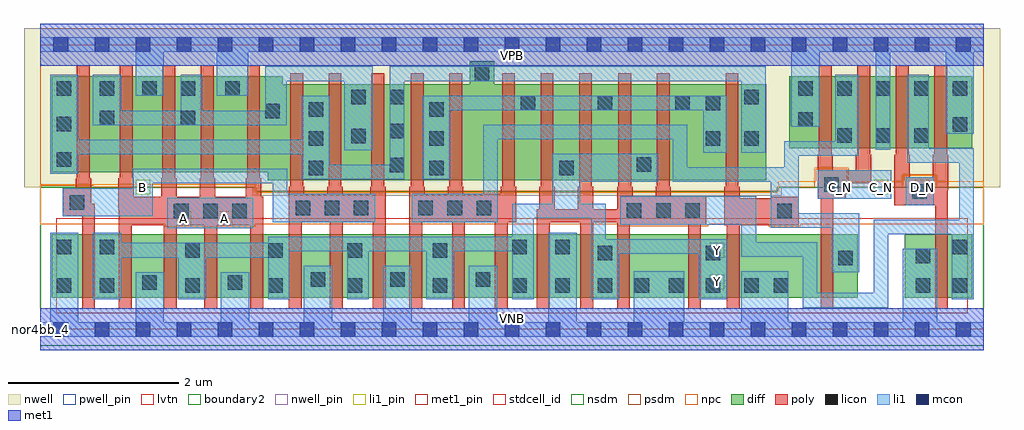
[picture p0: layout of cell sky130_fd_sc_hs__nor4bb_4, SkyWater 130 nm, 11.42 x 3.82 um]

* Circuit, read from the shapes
.subckt sky130_fd_sc_hs__nor4bb_4 A B C_N D_N VGND VNB VPB VPWR Y
XM1 Y B VGND VNB sky130_fd_pr__nfet_01v8_lvt w=0.74 l=0.15 m=4
XM2 VGND A Y VNB sky130_fd_pr__nfet_01v8_lvt w=0.74 l=0.15 m=4
XM3 Y n1 VGND VNB sky130_fd_pr__nfet_01v8_lvt w=0.74 l=0.15 m=4
XM4 VGND n2 Y VNB sky130_fd_pr__nfet_01v8_lvt w=0.74 l=0.15 m=4
XM5 n1 C_N VGND VNB sky130_fd_pr__nfet_01v8_lvt w=0.74 l=0.15
XM6 n2 D_N VGND VNB sky130_fd_pr__nfet_01v8_lvt w=0.74 l=0.15
XM7 n3 B n4 VPB sky130_fd_pr__pfet_01v8 w=1.12 l=0.15 m=4
XM8 VPWR A n3 VPB sky130_fd_pr__pfet_01v8 w=1.12 l=0.15 m=4
XM9 n5 n1 n4 VPB sky130_fd_pr__pfet_01v8 w=1.12 l=0.15 m=4
XM10 Y n2 n5 VPB sky130_fd_pr__pfet_01v8 w=1.12 l=0.15 m=4
XM11 n1 C_N VPWR VPB sky130_fd_pr__pfet_01v8 w=0.84 l=0.15 m=2
XM12 n2 D_N VPWR VPB sky130_fd_pr__pfet_01v8 w=0.84 l=0.15 m=2
.ends

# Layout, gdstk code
import gdstk
lib = gdstk.Library(unit=1e-6, precision=1e-09)
def R(c, l, rs):  # rectangles x0, y0, x1, y1
    for r in rs: c.add(gdstk.rectangle(r[:2], r[2:], *l))
def A(c, l, x, y, w, h, nx, ny, dx, dy):  # array of equal rectangles
    R(c, l, [(x+i*dx, y+j*dy, x+i*dx+w, y+j*dy+h) for i in range(nx) for j in range(ny)])
def P(c, l, *ps):  # polygons
    for p in ps: c.add(gdstk.Polygon(p, *l))
nwell_pin = (64, 16)
nwell = (64, 20)
diff = (65, 20)
poly = (66, 20)
licon = (66, 44)
li1_pin = (67, 16)
li1 = (67, 20)
mcon = (67, 44)
met1_pin = (68, 16)
met1 = (68, 20)
stdcell_id = (81, 4)
nsdm = (93, 44)
psdm = (94, 20)
npc = (95, 20)
pwell_pin = (122, 16)
lvtn = (125, 44)
boundary2 = (236, 0)

sky130_fd_sc_hs__nor4bb_ = lib.new_cell('sky130_fd_sc_hs__nor4bb_4')
R(sky130_fd_sc_hs__nor4bb_, nwell_pin, [(0,3.085,11.04,3.33)])
P(sky130_fd_sc_hs__nor4bb_, nwell, [(11.23,3.52),(-0.19,3.52),(-0.19,1.66),(2.48,1.66),(2.48,1.565),(8.675,1.565),(8.675,1.66),(11.23,1.66)])
R(sky130_fd_sc_hs__nor4bb_, diff, [(0.135,0.37,9.565,1.11), (10.115,0.37,10.905,1.11), (8.765,2.12,10.905,2.96)])
P(sky130_fd_sc_hs__nor4bb_, diff, [(8.495,2.865),(5.315,2.865),(5.315,3.135),(5.025,3.135),(5.025,2.865),(2.835,2.865),(2.835,2.96),(0.135,2.96),(0.135,1.84),(2.66,1.84),(2.66,1.745),(8.495,1.745)])
P(sky130_fd_sc_hs__nor4bb_, poly, [(0.64,1.47),(0.595,1.47),(0.595,1.765),(0.58,1.765),(0.58,3.09),(0.43,3.09),(0.43,1.765),(0.415,1.765),(0.415,1.65),(0.265,1.65),(0.265,1.32),(0.49,1.32),(0.49,0.24),(0.64,0.24)],
  [(2.61,1.55),(2.585,1.55),(2.585,1.765),(2.57,1.765),(2.57,3.09),(2.42,3.09),(2.42,1.765),(2.405,1.765),(2.405,1.55),(2.045,1.55),(2.045,1.765),(2.03,1.765),(2.03,3.09),(1.88,3.09),(1.88,1.765),(1.865,1.765),(1.865,1.55),(1.595,1.55),(1.595,1.765),(1.58,1.765),(1.58,3.09),(1.43,3.09),(1.43,1.765),(1.415,1.765),(1.415,1.55),(1.095,1.55),(1.095,1.765),(1.08,1.765),(1.08,3.09),(0.93,3.09),(0.93,1.765),(0.915,1.765),(0.915,1.4),(0.92,1.4),(0.92,0.24),(1.07,0.24),(1.07,1.22),(1.445,1.22),(1.445,0.24),(1.595,0.24),(1.595,1.22),(1.92,1.22),(1.92,0.24),(2.07,0.24),(2.07,1.22),(2.46,1.22),(2.46,0.24),(2.61,0.24)],
  [(4.04,1.67),(4.025,1.67),(4.025,2.995),(3.875,2.995),(3.875,1.67),(3.86,1.67),(3.86,1.585),(3.54,1.585),(3.54,1.67),(3.525,1.67),(3.525,2.995),(3.375,2.995),(3.375,1.67),(3.36,1.67),(3.36,1.585),(3.09,1.585),(3.09,1.67),(3.075,1.67),(3.075,2.995),(2.925,2.995),(2.925,1.67),(2.91,1.67),(2.91,0.24),(3.06,0.24),(3.06,1.255),(3.39,1.255),(3.39,0.24),(3.54,0.24),(3.54,1.255),(3.89,1.255),(3.89,0.24),(4.04,0.24)],
  [(5.57,1.67),(5.555,1.67),(5.555,2.995),(5.405,2.995),(5.405,1.67),(5.39,1.67),(5.39,1.585),(4.95,1.585),(4.95,1.67),(4.935,1.67),(4.935,2.995),(4.785,2.995),(4.785,1.67),(4.77,1.67),(4.77,1.585),(4.5,1.585),(4.5,1.67),(4.485,1.67),(4.485,2.995),(4.335,2.995),(4.335,1.67),(4.32,1.67),(4.32,0.24),(4.47,0.24),(4.47,1.255),(4.82,1.255),(4.82,0.24),(4.97,0.24),(4.97,1.255),(5.32,1.255),(5.32,0.24),(5.47,0.24),(5.47,1.255),(5.57,1.255)],
  [(7.795,1.555),(7.38,1.555),(7.38,1.67),(7.365,1.67),(7.365,2.995),(7.215,2.995),(7.215,1.67),(7.2,1.67),(7.2,1.555),(6.93,1.555),(6.93,1.67),(6.915,1.67),(6.915,2.995),(6.765,2.995),(6.765,1.67),(6.75,1.67),(6.75,1.405),(6.47,1.405),(6.47,1.67),(6.455,1.67),(6.455,2.995),(6.305,2.995),(6.305,1.67),(6.29,1.67),(6.29,1.405),(6.02,1.405),(6.02,1.67),(6.005,1.67),(6.005,2.995),(5.855,2.995),(5.855,1.67),(5.84,1.67),(5.84,1.405),(5.81,1.405),(5.81,0.24),(5.96,0.24),(5.96,1.255),(6.32,1.255),(6.32,0.24),(6.47,0.24),(6.47,1.255),(6.75,1.255),(6.75,0.24),(6.9,0.24),(6.9,1.225),(7.58,1.225),(7.58,0.24),(7.73,0.24),(7.73,1.225),(7.795,1.225)],
  [(8.875,1.55),(8.545,1.55),(8.545,1.535),(8.185,1.535),(8.185,1.67),(8.17,1.67),(8.17,2.995),(8.02,2.995),(8.02,1.67),(8.005,1.67),(8.005,1.22),(8.035,1.22),(8.035,0.24),(8.185,0.24),(8.185,1.22),(8.875,1.22)],
  [(9.725,2.045),(9.71,2.045),(9.71,3.09),(9.56,3.09),(9.56,2.045),(9.545,2.045),(9.545,1.86),(9.275,1.86),(9.275,2.045),(9.26,2.045),(9.26,3.09),(9.11,3.09),(9.11,2.045),(9.095,2.045),(9.095,1.53),(9.13,1.53),(9.13,0.24),(9.28,0.24),(9.28,1.53),(9.425,1.53),(9.425,1.71),(9.725,1.71)],
  [(10.625,2.045),(10.61,2.045),(10.61,3.09),(10.46,3.09),(10.46,2.045),(10.445,2.045),(10.445,1.78),(10.175,1.78),(10.175,2.045),(10.16,2.045),(10.16,3.09),(10.01,3.09),(10.01,2.045),(9.995,2.045),(9.995,1.45),(10.47,1.45),(10.47,0.24),(10.62,0.24),(10.62,1.63),(10.625,1.63)])
A(sky130_fd_sc_hs__nor4bb_, licon, 5.525, 0.43, 0.17, 0.17, 3, 1, 0.5, 0)
A(sky130_fd_sc_hs__nor4bb_, licon, 1.565, 1.3, 0.17, 0.17, 3, 1, 0.34, 0)
A(sky130_fd_sc_hs__nor4bb_, licon, 6.865, 1.305, 0.17, 0.17, 3, 1, 0.34, 0)
A(sky130_fd_sc_hs__nor4bb_, licon, 2.99, 1.335, 0.17, 0.17, 3, 1, 0.34, 0)
A(sky130_fd_sc_hs__nor4bb_, licon, 4.425, 1.335, 0.17, 0.17, 3, 1, 0.34, 0)
A(sky130_fd_sc_hs__nor4bb_, licon, 3.14, 1.805, 0.17, 0.17, 1, 3, 0, 0.34)
A(sky130_fd_sc_hs__nor4bb_, licon, 4.55, 1.805, 0.17, 0.17, 1, 3, 0, 0.34)
A(sky130_fd_sc_hs__nor4bb_, licon, 4.09, 1.835, 0.17, 0.17, 1, 3, 0, 0.4)
A(sky130_fd_sc_hs__nor4bb_, licon, 9.325, 2.18, 0.17, 0.17, 3, 1, 0.45, 0)
A(sky130_fd_sc_hs__nor4bb_, licon, 5.62, 2.565, 0.17, 0.17, 3, 1, 0.905, 0)
A(sky130_fd_sc_hs__nor4bb_, licon, 0.195, 2.73, 0.17, 0.17, 3, 1, 0.5, 0)
A(sky130_fd_sc_hs__nor4bb_, licon, 9.325, 2.73, 0.17, 0.17, 4, 1, 0.45, 0)
R(sky130_fd_sc_hs__nor4bb_, licon, [(0.195,0.43,0.365,0.6), (0.695,0.43,0.865,0.6), (1.695,0.43,1.865,0.6), (2.665,0.43,2.835,0.6), (3.595,0.43,3.765,0.6), (4.595,0.43,4.765,0.6), (6.955,0.43,7.125,0.6), (7.355,0.43,7.525,0.6), (7.785,0.43,7.955,0.6), (8.24,0.43,8.41,0.6), (8.58,0.43,8.75,0.6), (10.245,0.43,10.415,0.6), (10.675,0.43,10.845,0.6), (1.195,0.465,1.365,0.635), (2.195,0.465,2.365,0.635), (3.165,0.495,3.335,0.665), (4.095,0.495,4.265,0.665), (5.095,0.495,5.265,0.665), (9.335,0.75,9.505,0.92), (10.245,0.77,10.415,0.94), (6.525,0.805,6.695,0.975), (7.785,0.805,7.955,0.975), (2.665,0.835,2.835,1.005), (3.595,0.835,3.765,1.005), (4.595,0.835,4.765,1.005), (1.695,0.84,1.865,1.01), (0.195,0.88,0.365,1.05), (0.695,0.88,0.865,1.05), (5.525,0.88,5.695,1.05), (6.025,0.88,6.195,1.05), (10.675,0.88,10.845,1.05), (8.625,1.3,8.795,1.47), (0.345,1.4,0.515,1.57), (10.205,1.53,10.375,1.7), (9.175,1.61,9.345,1.78), (6.07,1.805,6.24,1.975), (6.98,1.845,7.15,2.015), (0.195,1.9,0.365,2.07), (7.785,2.145,7.955,2.315), (8.24,2.145,8.41,2.315), (3.64,2.175,3.81,2.345), (10.675,2.31,10.845,2.48), (0.195,2.315,0.365,2.485), (8.87,2.37,9.04,2.54), (0.695,2.39,0.865,2.56), (1.645,2.39,1.815,2.56), (2.635,2.47,2.805,2.64), (7.785,2.565,7.955,2.735), (3.64,2.635,3.81,2.805), (8.24,2.635,8.41,2.805), (1.645,2.73,1.815,2.9), (2.165,2.73,2.335,2.9), (8.87,2.73,9.04,2.9), (5.085,2.905,5.255,3.075)])
A(sky130_fd_sc_hs__nor4bb_, li1_pin, 9.275, 1.58, 0.17, 0.17, 3, 1, 0.48, 0)
R(sky130_fd_sc_hs__nor4bb_, li1_pin, [(7.835,0.47,8.005,0.64), (7.835,0.84,8.005,1.01), (1.595,1.21,1.765,1.38), (2.075,1.21,2.245,1.38), (1.115,1.58,1.285,1.75)])
R(sky130_fd_sc_hs__nor4bb_, li1, [(1.485,1.18,2.495,1.54), (10.125,1.45,10.455,1.78), (9.095,1.53,9.955,1.86)])
P(sky130_fd_sc_hs__nor4bb_, li1, [(10.925,2.12),(10.395,2.12),(10.395,2.98),(10.145,2.98),(10.145,1.95),(10.755,1.95),(10.755,1.28),(9.755,1.28),(9.755,0.425),(9.09,0.425),(9.09,1.02),(8.375,1.02),(8.375,1.555),(6.785,1.555),(6.785,1.225),(8.205,1.225),(8.205,0.85),(8.92,0.85),(8.92,0.255),(9.925,0.255),(9.925,1.11),(10.665,1.11),(10.665,0.35),(10.925,0.35)],
  [(3.89,3.075),(2.635,3.075),(2.635,2.56),(1.895,2.56),(1.895,2.98),(1.645,2.98),(1.645,2.56),(0.945,2.56),(0.945,2.98),(0.615,2.98),(0.615,2.39),(2.885,2.39),(2.885,2.905),(3.56,2.905),(3.56,2.095),(3.89,2.095)],
  [(3.92,1.585),(2.89,1.585),(2.89,1.88),(1.085,1.88),(1.085,1.65),(0.265,1.65),(0.265,1.32),(1.315,1.32),(1.315,1.71),(2.72,1.71),(2.72,1.255),(3.92,1.255)],
  [(8.035,2.735),(4.47,2.735),(4.47,1.755),(4.8,1.755),(4.8,2.565),(7.76,2.565),(7.76,2.065),(8.035,2.065)],
  [(8.035,1.055),(6.615,1.055),(6.615,1.47),(6.32,1.47),(6.32,1.725),(7.23,1.725),(7.23,2.055),(5.99,2.055),(5.99,1.47),(5.525,1.47),(5.525,1.085),(2.665,1.085),(2.665,1.01),(0.945,1.01),(0.945,1.13),(0.615,1.13),(0.615,0.35),(0.945,0.35),(0.945,0.84),(1.615,0.84),(1.615,0.35),(1.945,0.35),(1.945,0.84),(2.665,0.84),(2.665,0.35),(2.915,0.35),(2.915,0.915),(3.595,0.915),(3.595,0.35),(3.845,0.35),(3.845,0.915),(4.515,0.915),(4.515,0.35),(4.845,0.35),(4.845,0.915),(5.525,0.915),(5.525,0.35),(5.775,0.35),(5.775,1.3),(6.445,1.3),(6.445,0.35),(6.775,0.35),(6.775,0.885),(7.705,0.885),(7.705,0.35),(8.035,0.35)],
  [(11.04,0.085),(10.495,0.085),(10.495,0.94),(10.095,0.94),(10.095,0.085),(8.75,0.085),(8.75,0.68),(8.205,0.68),(8.205,0.085),(7.535,0.085),(7.535,0.68),(6.945,0.68),(6.945,0.085),(6.275,0.085),(6.275,1.13),(5.945,1.13),(5.945,0.085),(5.345,0.085),(5.345,0.745),(5.015,0.745),(5.015,0.085),(4.345,0.085),(4.345,0.745),(4.015,0.745),(4.015,0.085),(3.415,0.085),(3.415,0.745),(3.085,0.745),(3.085,0.085),(2.445,0.085),(2.445,0.67),(2.115,0.67),(2.115,0.085),(1.445,0.085),(1.445,0.67),(1.115,0.67),(1.115,0.085),(0.445,0.085),(0.445,1.13),(0.115,1.13),(0.115,0.085),(0,0.085),(0,-0.085),(11.04,-0.085)],
  [(8.49,3.075),(4.09,3.075),(4.09,1.925),(3.39,1.925),(3.39,2.735),(3.06,2.735),(3.06,2.22),(0.445,2.22),(0.445,2.98),(0.115,2.98),(0.115,1.82),(0.445,1.82),(0.445,2.05),(3.06,2.05),(3.06,1.755),(4.26,1.755),(4.26,2.905),(8.205,2.905),(8.205,2.065),(8.49,2.065)],
  [(9.585,1.36),(8.875,1.36),(8.875,2.03),(9.575,2.03),(9.575,2.98),(9.3,2.98),(9.3,2.2),(8.705,2.2),(8.705,1.895),(7.57,1.895),(7.57,2.395),(5.185,2.395),(5.185,1.585),(4.345,1.585),(4.345,1.255),(5.355,1.255),(5.355,2.225),(7.4,2.225),(7.4,1.725),(8.545,1.725),(8.545,1.19),(9.26,1.19),(9.26,0.67),(9.585,0.67)],
  [(11.04,3.415),(0,3.415),(0,3.245),(1.115,3.245),(1.115,2.73),(1.445,2.73),(1.445,3.245),(2.065,3.245),(2.065,2.73),(2.435,2.73),(2.435,3.245),(8.79,3.245),(8.79,2.37),(9.12,2.37),(9.12,3.245),(9.775,3.245),(9.775,2.1),(9.945,2.1),(9.945,3.245),(10.595,3.245),(10.595,2.29),(10.925,2.29),(10.925,3.245),(11.04,3.245)])
A(sky130_fd_sc_hs__nor4bb_, mcon, 0.155, -0.085, 0.17, 0.17, 23, 2, 0.48, 3.33)
R(sky130_fd_sc_hs__nor4bb_, met1_pin, [(0,0,11.04,0.245), (0,3.085,11.04,3.33)])
R(sky130_fd_sc_hs__nor4bb_, met1, [(0,-0.245,11.04,0.245), (0,3.085,11.04,3.575)])
R(sky130_fd_sc_hs__nor4bb_, stdcell_id, [(0,0,11.04,3.33)])
P(sky130_fd_sc_hs__nor4bb_, nsdm, [(11.04,1.66),(8.625,1.66),(8.625,1.615),(2.53,1.615),(2.53,1.66),(0,1.66),(0,-0.19),(11.04,-0.19)])
P(sky130_fd_sc_hs__nor4bb_, psdm, [(11.04,3.52),(0,3.52),(0,1.68),(0.625,1.68),(0.625,1.66),(2.53,1.66),(2.53,1.615),(8.625,1.615),(8.625,1.66),(9.065,1.66),(9.065,1.89),(9.455,1.89),(9.455,1.66),(10.095,1.66),(10.095,1.81),(10.485,1.81),(10.485,1.66),(11.04,1.66)])
P(sky130_fd_sc_hs__nor4bb_, npc, [(11.04,1.73),(10.475,1.73),(10.475,1.8),(10.105,1.8),(10.105,1.73),(9.445,1.73),(9.445,1.88),(9.075,1.88),(9.075,1.73),(8.635,1.73),(8.635,1.605),(2.52,1.605),(2.52,1.7),(0,1.7),(0,1.23),(1.465,1.23),(1.465,1.2),(2.515,1.2),(2.515,1.23),(6.765,1.23),(6.765,1.205),(7.815,1.205),(7.815,1.23),(8.525,1.23),(8.525,1.2),(8.895,1.2),(8.895,1.23),(11.04,1.23)])
R(sky130_fd_sc_hs__nor4bb_, pwell_pin, [(0,0,11.04,0.245)])
R(sky130_fd_sc_hs__nor4bb_, lvtn, [(0.19,0.19,10.85,1.3)])
R(sky130_fd_sc_hs__nor4bb_, boundary2, [(0,0,11.04,3.33)])
sky130_fd_sc_hs__nor4bb_.add(gdstk.Label('nor4bb_4', (0,0), layer=83, texttype=44))
sky130_fd_sc_hs__nor4bb_.add(gdstk.Label('VNB', (5.52,0.123), layer=64, texttype=59))
sky130_fd_sc_hs__nor4bb_.add(gdstk.Label('VPB', (5.52,3.208), layer=64, texttype=5))
sky130_fd_sc_hs__nor4bb_.add(gdstk.Label('VPWR', (5.52,3.208), layer=68, texttype=5))
sky130_fd_sc_hs__nor4bb_.add(gdstk.Label('VGND', (5.52,0.123), layer=68, texttype=5))
sky130_fd_sc_hs__nor4bb_.add(gdstk.Label('A', (1.68,1.295), layer=67, texttype=5))
sky130_fd_sc_hs__nor4bb_.add(gdstk.Label('A', (2.16,1.295), layer=67, texttype=5))
sky130_fd_sc_hs__nor4bb_.add(gdstk.Label('B', (1.2,1.665), layer=67, texttype=5))
sky130_fd_sc_hs__nor4bb_.add(gdstk.Label('Y', (7.92,0.555), layer=67, texttype=5))
sky130_fd_sc_hs__nor4bb_.add(gdstk.Label('Y', (7.92,0.925), layer=67, texttype=5))
sky130_fd_sc_hs__nor4bb_.add(gdstk.Label('C_N', (9.36,1.665), layer=67, texttype=5))
sky130_fd_sc_hs__nor4bb_.add(gdstk.Label('C_N', (9.84,1.665), layer=67, texttype=5))
sky130_fd_sc_hs__nor4bb_.add(gdstk.Label('D_N', (10.32,1.665), layer=67, texttype=5))

lib.write_gds('sky130_fd_sc_hs__nor4bb_4.gds')
